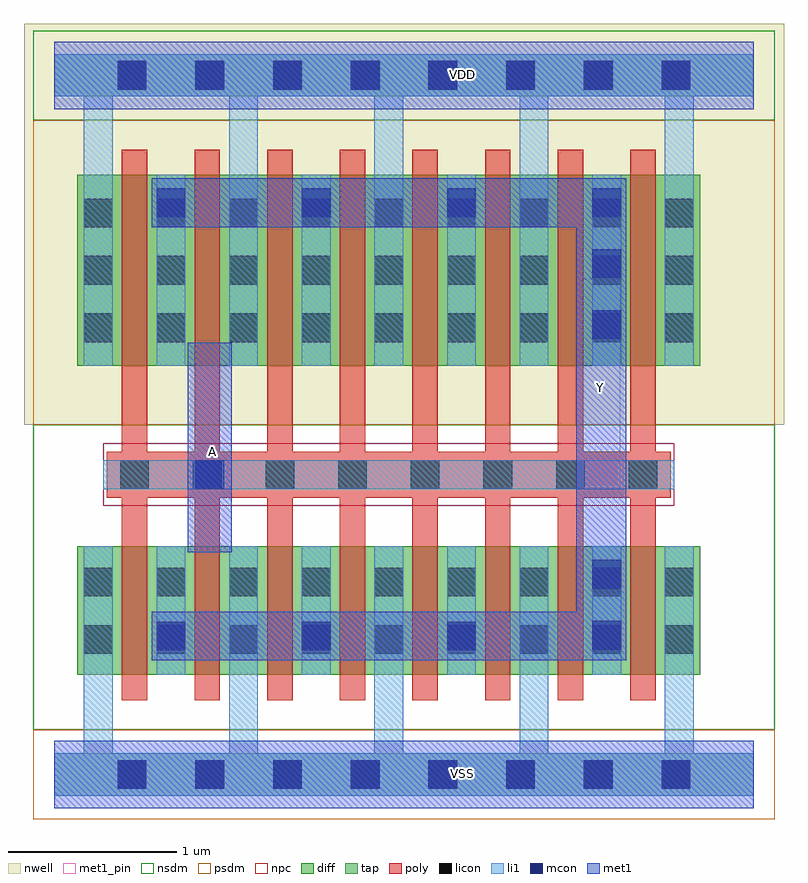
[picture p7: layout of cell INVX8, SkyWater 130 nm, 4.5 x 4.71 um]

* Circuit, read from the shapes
.subckt INVX8 A VDD VSS Y
XM1 Y A VSS VSS sky130_fd_pr__nfet_01v8 w=0.76 l=0.15 m=8
XM2 Y A VDD VDD sky130_fd_pr__pfet_01v8 w=1.13 l=0.15 m=8
.ends

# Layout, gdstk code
from math import pi, radians
import gdstk
lib = gdstk.Library(unit=1e-6, precision=1e-09)
def R(c, l, rs):  # rectangles x0, y0, x1, y1
    for r in rs: c.add(gdstk.rectangle(r[:2], r[2:], *l))
def A(c, l, x, y, w, h, nx, ny, dx, dy):  # array of equal rectangles
    R(c, l, [(x+i*dx, y+j*dy, x+i*dx+w, y+j*dy+h) for i in range(nx) for j in range(ny)])
def P(c, l, *ps):  # polygons
    for p in ps: c.add(gdstk.Polygon(p, *l))
nwell = (64, 20)
diff = (65, 20)
tap = (65, 44)
poly = (66, 20)
licon = (66, 44)
li1 = (67, 20)
mcon = (67, 44)
met1_pin = (68, 16)
met1 = (68, 20)
nsdm = (93, 44)
psdm = (94, 20)
npc = (95, 20)

l1m1_c__16 = lib.new_cell('L1M1_C$$16')
R(l1m1_c__16, li1, [(-0.085,-0.165,0.085,0.165)])
R(l1m1_c__16, mcon, [(-0.085,-0.085,0.085,0.085)])
R(l1m1_c__16, met1, [(-0.115,-0.145,0.115,0.145)])

l1m1_c__15 = lib.new_cell('L1M1_C$$15')
R(l1m1_c__15, li1, [(-0.165,-0.085,0.165,0.085)])
R(l1m1_c__15, mcon, [(-0.085,-0.085,0.085,0.085)])
R(l1m1_c__15, met1, [(-0.115,-0.145,0.115,0.145)])

l1m1_c__12 = lib.new_cell('L1M1_C$$12')
R(l1m1_c__12, li1, [(-0.085,-0.345,0.085,0.345)])
R(l1m1_c__12, mcon, [(-0.085,-0.265,0.085,-0.095), (-0.085,0.095,0.085,0.265)])
R(l1m1_c__12, met1, [(-0.115,-0.325,0.115,0.325)])

pyl1con_c__13 = lib.new_cell('PYL1CON_C$$13')
R(pyl1con_c__13, poly, [(-0.135,-0.165,0.135,0.165)])
R(pyl1con_c__13, licon, [(-0.085,-0.085,0.085,0.085)])
R(pyl1con_c__13, npc, [(-0.185,-0.185,0.185,0.185)])

l1m1_c__18 = lib.new_cell('L1M1_C$$18')
R(l1m1_c__18, li1, [(-0.085,-0.525,0.085,0.525)])
A(l1m1_c__18, mcon, -0.085, -0.445, 0.17, 0.17, 1, 3, 0, 0.36)
R(l1m1_c__18, met1, [(-0.115,-0.505,0.115,0.505)])

invx8 = lib.new_cell('INVX8')
R(invx8, nwell, [(-0.18,2.07,4.32,4.445)])
R(invx8, diff, [(0.135,0.59,3.825,1.35), (0.135,2.42,3.825,3.55)])
P(invx8, poly, [(3.61,1.91),(3.56,1.91),(3.56,3.7),(3.41,3.7),(3.41,1.91),(3.13,1.91),(3.13,3.7),(2.98,3.7),(2.98,1.91),(2.7,1.91),(2.7,3.7),(2.55,3.7),(2.55,1.91),(2.27,1.91),(2.27,3.7),(2.12,3.7),(2.12,1.91),(1.84,1.91),(1.84,3.7),(1.69,3.7),(1.69,1.91),(1.41,1.91),(1.41,3.7),(1.26,3.7),(1.26,1.91),(0.98,1.91),(0.98,3.7),(0.83,3.7),(0.83,1.91),(0.55,1.91),(0.55,3.7),(0.4,3.7),(0.4,1.91),(0.31,1.91),(0.31,1.64),(0.4,1.64),(0.4,0.44),(0.55,0.44),(0.55,1.64),(0.83,1.64),(0.83,0.44),(0.98,0.44),(0.98,1.64),(1.26,1.64),(1.26,0.44),(1.41,0.44),(1.41,1.64),(1.69,1.64),(1.69,0.44),(1.84,0.44),(1.84,1.64),(2.12,1.64),(2.12,0.44),(2.27,0.44),(2.27,1.64),(2.55,1.64),(2.55,0.44),(2.7,0.44),(2.7,1.64),(2.98,1.64),(2.98,0.44),(3.13,0.44),(3.13,1.64),(3.41,1.64),(3.41,0.44),(3.56,0.44),(3.56,1.64),(3.61,1.64)])
A(invx8, licon, 0.375, -0.085, 0.17, 0.17, 8, 2, 0.46, 4.14)
A(invx8, licon, 0.175, 0.715, 0.17, 0.17, 9, 2, 0.43, 0.34)
A(invx8, licon, 0.175, 2.56, 0.17, 0.17, 9, 3, 0.43, 0.34)
A(invx8, li1, 0.605, 0.59, 0.17, 0.76, 4, 1, 0.86, 0)
A(invx8, li1, 0.605, 2.42, 0.17, 1.13, 4, 1, 0.86, 0)
P(invx8, li1, [(4.14,4.265),(0,4.265),(0,4.015),(0.175,4.015),(0.175,2.42),(0.345,2.42),(0.345,4.015),(1.035,4.015),(1.035,2.42),(1.205,2.42),(1.205,4.015),(1.895,4.015),(1.895,2.42),(2.065,2.42),(2.065,4.015),(2.755,4.015),(2.755,2.42),(2.925,2.42),(2.925,4.015),(3.615,4.015),(3.615,2.42),(3.785,2.42),(3.785,4.015),(4.14,4.015)],
  [(4.14,0.125),(3.785,0.125),(3.785,1.35),(3.615,1.35),(3.615,0.125),(2.925,0.125),(2.925,1.35),(2.755,1.35),(2.755,0.125),(2.065,0.125),(2.065,1.35),(1.895,1.35),(1.895,0.125),(1.205,0.125),(1.205,1.35),(1.035,1.35),(1.035,0.125),(0.345,0.125),(0.345,1.35),(0.175,1.35),(0.175,0.125),(0,0.125),(0,-0.125),(4.14,-0.125)])
A(invx8, mcon, 0.375, -0.085, 0.17, 0.17, 8, 2, 0.46, 4.14)
R(invx8, met1_pin, [(0.79,1.315,1.05,2.555), (3.09,1.695,3.35,2.935)])
P(invx8, met1, [(3.385,3.53),(0.66,3.53),(0.66,3.24),(3.09,3.24),(3.09,0.965),(0.66,0.965),(0.66,0.675),(3.385,0.675)])
R(invx8, nsdm, [(-0.125,0.265,4.265,2.07), (-0.125,3.875,4.265,4.405)])
R(invx8, psdm, [(-0.125,-0.265,4.265,0.265), (-0.125,2.07,4.265,3.875)])
R(invx8, npc, [(0.29,1.59,3.67,1.96)])
invx8.add(gdstk.FlexPath([(0.29,1.775),(3.67,1.775)], 0.17, ends="flush", simple_path=True, layer=67, datatype=20))  # li1
invx8.add(gdstk.FlexPath([(0,4.14),(4.14,4.14)], 0.4, ends="flush", simple_path=True, layer=68, datatype=16))  # met1_pin
invx8.add(gdstk.FlexPath([(0,0),(4.14,0)], 0.4, ends="flush", simple_path=True, layer=68, datatype=16))  # met1_pin
invx8.add(gdstk.FlexPath([(0.92,1.315),(0.92,2.555)], 0.26, ends="flush", simple_path=True, layer=68, datatype=20))  # met1
invx8.add(gdstk.FlexPath([(0,4.14),(4.14,4.14)], 0.4, ends="flush", simple_path=True, layer=68, datatype=20))  # met1
invx8.add(gdstk.FlexPath([(0,0),(4.14,0)], 0.4, ends="flush", simple_path=True, layer=68, datatype=20))  # met1
invx8.add(gdstk.FlexPath([(0,0),(4.14,0)], 0.25, ends="flush", simple_path=True, layer=65, datatype=44))  # tap
invx8.add(gdstk.FlexPath([(0,4.14),(4.14,4.14)], 0.25, ends="flush", simple_path=True, layer=65, datatype=44))  # tap
invx8.add(gdstk.Reference(l1m1_c__16, (2.41,3.385)))
invx8.add(gdstk.Reference(l1m1_c__16, (0.69,0.82)))
invx8.add(gdstk.Reference(l1m1_c__16, (1.55,3.385)))
invx8.add(gdstk.Reference(l1m1_c__16, (2.41,0.82)))
invx8.add(gdstk.Reference(l1m1_c__16, (0.69,3.385)))
invx8.add(gdstk.Reference(l1m1_c__16, (1.55,0.82)))
invx8.add(gdstk.Reference(l1m1_c__15, (0.92,1.775), x_reflection=True))
invx8.add(gdstk.Reference(l1m1_c__12, (3.27,1.005)))
invx8.add(gdstk.Reference(pyl1con_c__13, (3.485,1.775), rotation=3*pi/2, x_reflection=True))
invx8.add(gdstk.Reference(pyl1con_c__13, (3.055,1.775), rotation=3*pi/2, x_reflection=True))
invx8.add(gdstk.Reference(pyl1con_c__13, (2.625,1.775), rotation=3*pi/2, x_reflection=True))
invx8.add(gdstk.Reference(pyl1con_c__13, (2.195,1.775), rotation=3*pi/2, x_reflection=True))
invx8.add(gdstk.Reference(pyl1con_c__13, (1.765,1.775), rotation=3*pi/2, x_reflection=True))
invx8.add(gdstk.Reference(pyl1con_c__13, (0.475,1.775), rotation=3*pi/2, x_reflection=True))
invx8.add(gdstk.Reference(pyl1con_c__13, (0.905,1.775), rotation=3*pi/2, x_reflection=True))
invx8.add(gdstk.Reference(pyl1con_c__13, (1.335,1.775), rotation=3*pi/2, x_reflection=True))
invx8.add(gdstk.Reference(l1m1_c__18, (3.27,3.025)))
invx8.add(gdstk.Label('VSS', (2.415,0.005), layer=68, texttype=5))
invx8.add(gdstk.Label('A', (0.935,1.91), layer=68, texttype=5))
invx8.add(gdstk.Label('Y', (3.235,2.29), layer=68, texttype=5))
invx8.add(gdstk.Label('VDD', (2.415,4.145), layer=68, texttype=5))

lib.write_gds('INVX8.gds')
